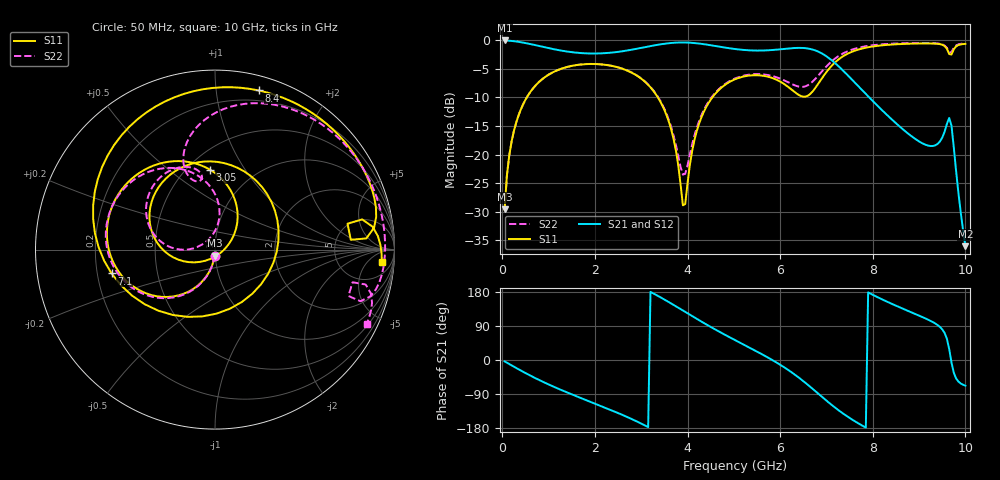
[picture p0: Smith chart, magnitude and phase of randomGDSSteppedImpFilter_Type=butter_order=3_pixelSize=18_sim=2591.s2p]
! freq	dB(S11)	phase(S11)	dB(S12)	phase(S12)
!  dB(S21)	phase(S21)	dB(S22)	phase(S22)
!S-par simulation data
#  GHz  S  DB  R 50
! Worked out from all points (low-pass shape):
!   200 points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, 50 MHz to 10 GHz, reference 50 ohm
!   highest |S21| = -0.01 dB at 50 MHz (marker M1); lowest = -36.0 dB at 10 GHz (marker M2)
!   |S21| within 3 dB of the highest: start of sweep to 7.038 GHz
!   lowest |S11| = -29.6 dB at 50 MHz (marker M3), VSWR 1.07, Z = 49.7 - j3.29 ohm
!   |S11| at or under -10 dB: start of sweep to 529 MHz; 3.361 GHz to 4.535 GHz (1.174 GHz wide, 29.7 % of centre)
!   |S22| runs from -29.6 to -0.5 dB; largest |S21 - S12| = 0
!   S11 on the Smith chart (normalised r, x): 50 MHz: 0.99, -0.07; 3.05 GHz: 0.64, +0.71; 7.1 GHz: 0.26, -0.11; 8.4 GHz: 0.11, +1.31; 10 GHz: 14, -14
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0.05  -29.59 -93.7  -0.01 -3.6  -0.01 -3.6  -29.59 -93.7
0.2  -17.75 -104.8  -0.10 -14.2  -0.10 -14.2  -17.75 -104.4
0.5  -10.40 -125.4  -0.46 -34.4  -0.46 -34.4  -10.40 -124.4
1.75  -4.19 164.7  -2.25 -102.8  -2.25 -102.8  -4.18 168.9
3.05  -7.02 93.4  -1.24 -170.8  -1.24 -170.8  -6.98 106.5
3.4  -10.54 67.9  -0.71 166.5  -0.71 166.5  -10.42 89.2
3.7  -17.32 38.4  -0.42 145.3  -0.42 145.3  -16.69 83.3
3.9  -28.88 -30.7  -0.36 130.6  -0.36 130.6  -23.50 122.3
4.3  -13.48 -164.7  -0.60 101.4  -0.60 101.4  -13.12 178.8
5.05  -6.73 135.7  -1.54 50.9  -1.54 50.9  -6.59 143.8
5.55  -6.12 97.2  -1.78 19.0  -1.78 19.0  -5.90 120.4
6  -7.22 52.8  -1.56 -12.5  -1.56 -12.5  -6.69 103.7
6.35  -9.27 -2.2  -1.32 -41.6  -1.32 -41.6  -7.97 100.8
6.7  -8.96 -88.4  -1.60 -76.0  -1.60 -76.0  -7.22 109.8
7.1  -4.56 -167.0  -3.39 -117.4  -3.39 -117.4  -3.76 102.3
7.4  -2.58 154.3  -5.62 -144.8  -5.62 -144.8  -2.11 86.6
7.75  -1.47 120.7  -8.54 -171.6  -8.54 -171.6  -1.18 67.5
8.35  -0.76 77.7  -13.39 151.5  -13.39 151.5  -0.61 37.8
8.4  -0.73 74.6  -13.77 148.8  -13.77 148.8  -0.58 35.5
9.25  -0.54 26.5  -18.50 103.1  -18.50 103.1  -0.47 -1.8
9.65  -2.40 4.1  -13.58 29.3  -13.58 29.3  -2.08 -19.2
10  -0.61 -4.2  -36.04 -67.7  -36.04 -67.7  -0.53 -26.1
